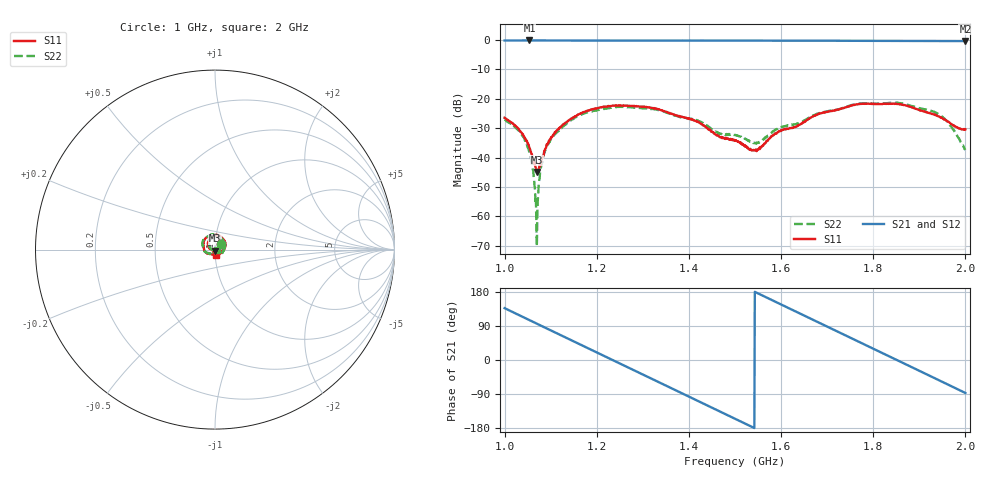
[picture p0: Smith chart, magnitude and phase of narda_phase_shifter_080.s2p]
#  HZ  S  DB  R  50.00
! Rohde & Schwarz Vector Network Analyzer
! Rohde-Schwarz,ZNB8-4Port,1311601044102961,2.82
! Created: UTC 3/4/2022, 4:05:54 PM
! freq[Hz]  db:S11  ang:S11  db:S21  ang:S21  db:S12  ang:S12  db:S22  ang:S22
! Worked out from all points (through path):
!   1001 points, 1 GHz to 2 GHz, reference 50 ohm
!   highest |S21| = -0.14 dB at 1.054 GHz (marker M1); lowest = -0.3 dB at 2 GHz (marker M2)
!   group delay of S21, straight-line fit = 1.62 ns
!   lowest |S11| = -44.9 dB at 1.071 GHz (marker M3), VSWR 1.01, Z = 50 - j0.568 ohm
!   |S11| at or under -10 dB: start of sweep to end of sweep
!   |S22| runs from -70.1 to -21.3 dB; largest |S21 - S12| = 0.0025
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1e9  -26.46 41.0  -0.15 136.8  -0.14 136.8  -27.00 43.4
1.035e9  -31.19 14.7  -0.15 116.3  -0.14 116.4  -31.91 22.6
1.054e9  -36.72 -11.4  -0.14 105.2  -0.14 105.2  -38.35 15.0
1.061e9  -40.38 -28.4  -0.15 101.1  -0.14 101.1  -43.93 15.4
1.066e9  -42.60 -54.1  -0.15 98.2  -0.14 98.2  -50.90 2.9
1.071e9  -44.91 -87.1  -0.15 95.3  -0.14 95.2  -59.21 -170.3
1.08e9  -40.48 -144.8  -0.15 90.0  -0.14 90.0  -42.24 -171.0
1.093e9  -35.41 -173.8  -0.15 82.4  -0.15 82.4  -35.73 -179.1
1.125e9  -29.01 162.7  -0.16 63.6  -0.15 63.7  -29.61 153.5
1.167e9  -24.80 130.6  -0.17 39.2  -0.16 39.2  -25.22 129.2
1.249e9  -22.30 81.7  -0.18 -8.6  -0.18 -8.6  -22.71 79.0
1.334e9  -23.57 29.6  -0.19 -58.1  -0.19 -58.1  -23.84 28.8
1.415e9  -27.53 -16.2  -0.19 -105.4  -0.18 -105.4  -27.16 -25.7
1.5e9  -34.24 -57.3  -0.19 -155.0  -0.19 -155.0  -32.30 -81.9
1.543e9  -37.61 -77.6  -0.19 179.8  -0.19 179.9  -34.98 -104.1
1.578e9  -32.87 -97.2  -0.21 159.4  -0.20 159.4  -31.65 -119.7
1.667e9  -26.20 -156.2  -0.22 107.5  -0.22 107.5  -25.91 -161.2
1.744e9  -22.71 151.2  -0.25 62.4  -0.25 62.4  -22.59 160.0
1.834e9  -21.70 90.2  -0.28 10.0  -0.28 10.0  -21.38 110.0
1.886e9  -23.02 53.4  -0.29 -20.4  -0.29 -20.3  -22.55 81.9
1.94e9  -25.80 6.1  -0.31 -51.8  -0.31 -51.9  -25.02 49.2
2e9  -30.37 -81.8  -0.35 -87.1  -0.35 -87.0  -37.38 -16.2
